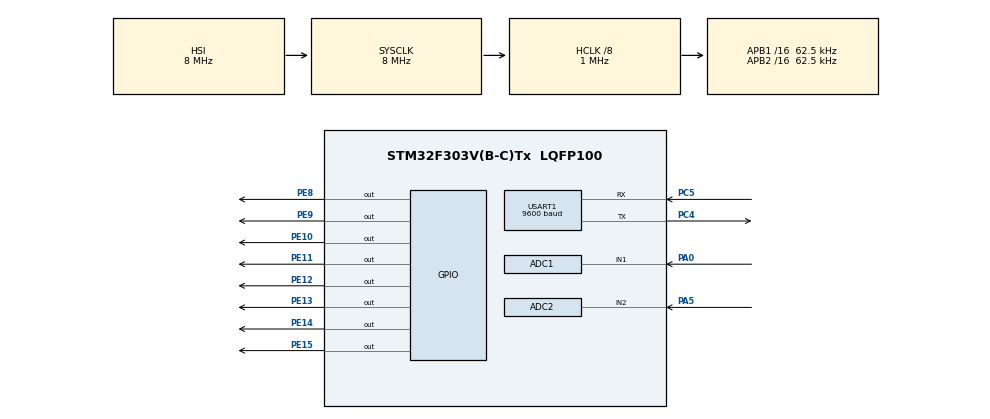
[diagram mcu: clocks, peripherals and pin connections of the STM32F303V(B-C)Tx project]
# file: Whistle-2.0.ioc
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Mcu.Family=STM32F3
ADC1.Offset-6\#ChannelRegularConversion=0
RCC.CortexFreq_Value=1000000
ADC2.SamplingTime-1\#ChannelRegularConversion=ADC_SAMPLETIME_1CYCLE_5
ADC1.ContinuousConvMode=ENABLE
USART1.BaudRate=9600
ADC1.SamplingTime-6\#ChannelRegularConversion=ADC_SAMPLETIME_1CYCLE_5
RCC.ADC34PRES=RCC_ADC34PLLCLK_DIV256
PC5.Mode=Asynchronous
ProjectManager.StackSize=0x400
ADC1.Mode=ADC_DUALMODE_REGSIMULT
RCC.HCLKFreq_Value=1000000
RCC.APB2TimFreq_Value=125000
Dma.ADC1.0.Direction=DMA_PERIPH_TO_MEMORY
Dma.ADC1.0.MemDataAlignment=DMA_MDATAALIGN_WORD
RCC.AHBFreq_Value=1000000
RCC.Usart1ClockSelection=RCC_USART1CLKSOURCE_SYSCLK
ADC1.Channel-6\#ChannelRegularConversion=ADC_CHANNEL_1
PE13.Signal=GPIO_Output
PE9.Signal=GPIO_Output
Dma.ADC1.0.PeriphInc=DMA_PINC_DISABLE
PA0.Mode=IN1-Single-Ended
ADC1.TwoSamplingDelay=ADC_TWOSAMPLINGDELAY_1CYCLE
PE10.Signal=GPIO_Output
PA0.Signal=ADC1_IN1
Mcu.Package=LQFP100
ADC1.EnableInjectedConversion=DISABLE
ADC2.Channel-1\#ChannelRegularConversion=ADC_CHANNEL_2
TIM8.Prescaler=1
RCC.APB2CLKDivider=RCC_HCLK_DIV16
RCC.APB1TimFreq_Value=125000
PC5.Signal=USART1_RX
Dma.Request0=ADC1
ADC1.Rank-6\#ChannelRegularConversion=1
PC4.Mode=Asynchronous
PA5.Mode=IN2-Single-Ended
ADC2.ClockPrescaler=ADC_CLOCK_SYNC_PCLK_DIV4
Dma.ADC1.0.Instance=DMA1_Channel1
ADC2.Mode=ADC_DUALMODE_REGSIMULT
PC4.Signal=USART1_TX
ARM.CMSIS.5.6.0.CMSISJjDSP=Library
RCC.APB1CLKDivider=RCC_HCLK_DIV16
USART1.VirtualMode-Asynchronous=VM_ASYNC
Dma.ADC1.0.PeriphDataAlignment=DMA_PDATAALIGN_WORD
ProjectManager.TargetToolchain=SW4STM32
Dma.ADC1.0.Mode=DMA_NORMAL
Dma.ADC1.0.Priority=DMA_PRIORITY_LOW
VP_ARM.CMSIS_VS_CMSISJjDSP_1.7.0.Mode=CMSISJjDSP
VP_TIM8_VS_ClockSourceINT.Mode=Internal
RCC.USBFreq_Value=8000000
PE11.Signal=GPIO_Output
RCC.LSE_VALUE=32768
ADC2.OffsetNumber-1\#ChannelRegularConversion=ADC_OFFSET_NONE
ARM.CMSIS.5.6.0.CMSISJjCORE=true
PA5.Signal=ADC2_IN2
VP_ARM.CMSIS_VS_CMSISJjCORE_5.3.0.Mode=CMSISJjCORE
board=custom
ADC2.Offset-1\#ChannelRegularConversion=0
RCC.APB2Freq_Value=62500
PE14.Signal=GPIO_Output
PE15.Signal=GPIO_Output
PE8.Signal=GPIO_Output
RCC.AHBCLKDivider=RCC_SYSCLK_DIV8
ADC1.DMAContinuousRequests=ENABLE
ADC1.NbrOfConversion=1
Mcu.Name=STM32F303V(B-C)Tx
PE12.Signal=GPIO_Output
PA2.Signal=OPAMP1_VOUT
ADC1.OffsetNumber-6\#ChannelRegularConversion=ADC_OFFSET_NONE
RCC.SYSCLKFreq_VALUE=8000000
ADC1.master=1
ADC2.NbrOfConversionFlag=1
Dma.ADC1.0.MemInc=DMA_MINC_ENABLE
ProjectManager.HeapSize=0x200
RCC.HSI_VALUE=8000000
NVIC.PriorityGroup=NVIC_PRIORITYGROUP_4
ADC1.NbrOfConversionFlag=1
ADC2.Rank-1\#ChannelRegularConversion=1
ADC1.EnableRegularConversion=ENABLE
NVIC.DMA1_Channel1_IRQn=true\:0\:0\:false\:false\:true\:false\:true
RCC.ADC12PRES=RCC_ADC12PLLCLK_DIV256
RCC.APB1Freq_Value=62500
ADC1.ClockPrescaler=ADC_CLOCK_SYNC_PCLK_DIV4

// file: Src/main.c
/* USER CODE BEGIN Header */

/* USER CODE END Header */

#include "main.h"
#include "adc.h"
#include "dma.h"
#include "tim.h"
#include "usart.h"
#include "gpio.h"

/* USER CODE BEGIN Includes */
#include "audio_format.h"
#include "debug_helper.h"
#include "fft.h"
#include "corr.h"
#include "median.h"
/* USER CODE END Includes */

/* USER CODE BEGIN PD */
#define DEBUG_MODE
#define    DWT_CYCCNT    *(volatile uint32_t*)0xE0001004
#define    DWT_CONTROL   *(volatile uint32_t*)0xE0001000
#define    SCB_DEMCR     *(volatile uint32_t*)0xE000EDFC
/* USER CODE END PD */

/* USER CODE BEGIN PV */
Audio_Data adc_data = {
		.len = AUDIO_DATA_LEN
};

Audio_Data adc_data_2 = {
		.len = AUDIO_DATA_LEN
};

/* USER CODE END PV */

void SystemClock_Config(void);

int main(void)
{

  /* MCU Configuration--------------------------------------------------------*/

  /* Reset of all peripherals, Initializes the Flash interface and the Systick. */
  HAL_Init();

  /* Configure the system clock */
  SystemClock_Config();

  /* Initialize all configured peripherals */
  MX_GPIO_Init();
  MX_DMA_Init();
  MX_ADC1_Init();
  MX_ADC2_Init();
  MX_USART1_UART_Init();
  MX_TIM8_Init();
  /* USER CODE BEGIN 2 */
//  HAL_OPAMP_Start(&hopamp1);
  Audio_Data *current_buffer = &adc_data;
  char string[128] = {};
  size_t bytes_written = sprintf(string, "\n\rADC Frequency: %d\n\r", ADC_FREQUENCY);
  HAL_UART_Transmit(&huart1, string, bytes_written, 100);
  int there_was_whistle = 0;
  // calibration
  HAL_ADC_Start(&hadc2);
  HAL_ADCEx_MultiModeStart_DMA(&hadc1, (uint32_t*)current_buffer, adc_data.len);
  HAL_Delay(40);
  SCB_DEMCR |= CoreDebug_DEMCR_TRCENA_Msk;// разрешаем использовать DWT

  calibrate_mean(current_buffer);
  bytes_written = sprintf(string, "Silence pressure: %d, %d\n\r", mean_silence_ch1, mean_silence_ch2);
  HAL_UART_Transmit(&huart1, string, bytes_written, 100);
  HAL_TIM_Base_Start(&htim8);

  /* USER CODE END 2 */

  /* Infinite loop */
  /* USER CODE BEGIN WHILE */
  while (1)
  {
	  while(1) {
		  HAL_Delay(300);
	  }
	  HAL_ADC_Stop(&hadc2);
	  if(current_buffer == &adc_data) {
		  current_buffer = &adc_data_2;
	  } else {
		  current_buffer = &adc_data;
	  }
	  led_off();
	  HAL_ADC_Start(&hadc2);
	  HAL_ADCEx_MultiModeStop_DMA(&hadc1);
	  HAL_ADCEx_MultiModeStart_DMA(&hadc1, (uint32_t*)current_buffer, adc_data.len);
	  // time laps
	   DWT_CONTROL|= DWT_CTRL_CYCCNTENA_Msk; // включаем счётчик
	   DWT_CYCCNT = 0;// обнуляем счётчик
	   q15_t* corr_arr;
	   if(!is_silence(current_buffer == &adc_data ? &adc_data_2 : &adc_data)) {
		   corr_arr = eval_shift(current_buffer == &adc_data ? &adc_data_2 : &adc_data);
		   int shift_dx = max_index(corr_arr);
		   median_add(shift_dx);
			  int timerValue = DWT_CYCCNT;
//		  	  print_debug_int(timerValue);

//		   if(shift_dx <= 0 ){
//			   	   print_debug_int(timerValue);
//			   	   HAL_Delay(160);
//				  print_debug_ch1(current_buffer == &adc_data ? &adc_data_2 : &adc_data);
//				  print_debug_ch2(current_buffer == &adc_data ? &adc_data_2 : &adc_data);
//				  print_debug_array(corr_arr, 512);
//		   }

	   }

	   int filtered_idx;
	   if(median_current_size() == MEDIAN_LEN) {
  		  filtered_idx = median_value();
		  led_peleng(to_grad(filtered_idx));

  		  print_debug_int(filtered_idx);
//  		  print_debug_array(corr_arr, 512);
//  		  print_debug_ch1(current_buffer == &adc_data ? &adc_data_2 : &adc_data);
//  		  print_debug_ch2(current_buffer == &adc_data ? &adc_data_2 : &adc_data);
  	  }

  	 while(HAL_DMA_GetState(&hdma_adc1) == HAL_DMA_STATE_BUSY){
  			  HAL_Delay(1);
  	 }

    /* USER CODE END WHILE */

  }
}

void SystemClock_Config(void)
{
  RCC_OscInitTypeDef RCC_OscInitStruct = {0};
  RCC_ClkInitTypeDef RCC_ClkInitStruct = {0};
  RCC_PeriphCLKInitTypeDef PeriphClkInit = {0};

  /** Initializes the CPU, AHB and APB busses clocks
  */
  RCC_OscInitStruct.OscillatorType = RCC_OSCILLATORTYPE_HSI;
  RCC_OscInitStruct.HSIState = RCC_HSI_ON;
  RCC_OscInitStruct.HSICalibrationValue = RCC_HSICALIBRATION_DEFAULT;
  RCC_OscInitStruct.PLL.PLLState = RCC_PLL_NONE;
  if (HAL_RCC_OscConfig(&RCC_OscInitStruct) != HAL_OK)
  {
    Error_Handler();
  }
  /** Initializes the CPU, AHB and APB busses clocks
  */
  RCC_ClkInitStruct.ClockType = RCC_CLOCKTYPE_HCLK|RCC_CLOCKTYPE_SYSCLK
                              |RCC_CLOCKTYPE_PCLK1|RCC_CLOCKTYPE_PCLK2;
  RCC_ClkInitStruct.SYSCLKSource = RCC_SYSCLKSOURCE_HSI;
  RCC_ClkInitStruct.AHBCLKDivider = RCC_SYSCLK_DIV8;
  RCC_ClkInitStruct.APB1CLKDivider = RCC_HCLK_DIV16;
  RCC_ClkInitStruct.APB2CLKDivider = RCC_HCLK_DIV16;

  if (HAL_RCC_ClockConfig(&RCC_ClkInitStruct, FLASH_LATENCY_0) != HAL_OK)
  {
    Error_Handler();
  }
  PeriphClkInit.PeriphClockSelection = RCC_PERIPHCLK_USART1|RCC_PERIPHCLK_TIM8;
  PeriphClkInit.Usart1ClockSelection = RCC_USART1CLKSOURCE_SYSCLK;
  PeriphClkInit.Tim8ClockSelection = RCC_TIM8CLK_HCLK;
  if (HAL_RCCEx_PeriphCLKConfig(&PeriphClkInit) != HAL_OK)
  {
    Error_Handler();
  }
}

void Error_Handler(void)
{
}

/************************ (C) COPYRIGHT STMicroelectronics *****END OF FILE****/
